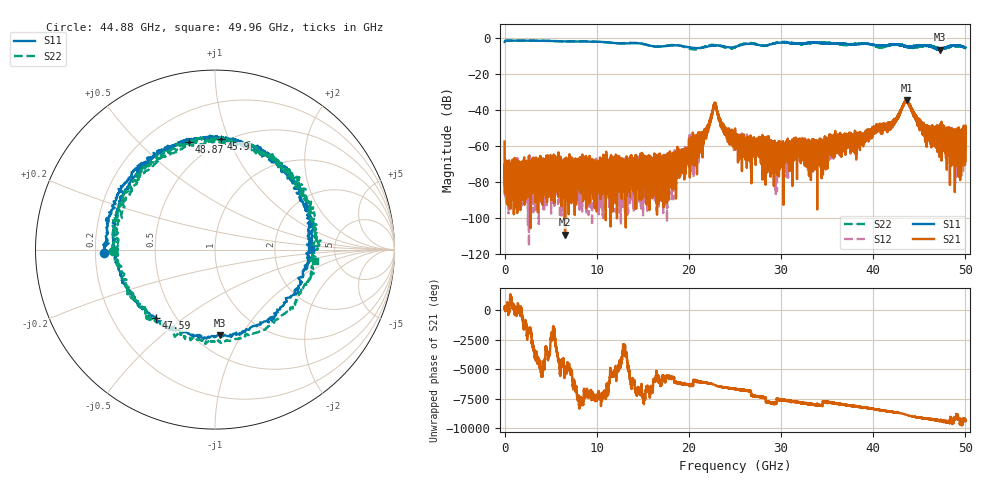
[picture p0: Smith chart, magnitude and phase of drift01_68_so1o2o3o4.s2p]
!Created with skrf (http://scikit-rf.org).
# Hz S RI R 50.0
!freq ReS11 ImS11 ReS21 ImS21 ReS12 ImS12 ReS22 ImS22
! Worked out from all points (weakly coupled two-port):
!   10001 points, 300 kHz to 50 GHz, reference 50 ohm
!   highest |S21| = -34.66 dB at 43.62 GHz (marker M1); lowest = -109.4 dB at 6.56 GHz (marker M2)
!   lowest |S11| = -6.5 dB at 47.28 GHz (marker M3), VSWR 2.81, Z = 32.9 - j40.5 ohm
!   |S11| at or under -10 dB: nowhere
!   |S22| runs from -6.4 to -1.4 dB; largest |S21 - S12| = 0.0043
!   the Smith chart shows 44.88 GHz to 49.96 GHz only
!   S11 on the Smith chart (normalised r, x): 44.88 GHz: 0.24, -0.02; 45.9 GHz: 0.47, +0.94; 47.59 GHz: 0.39, -0.40; 48.87 GHz: 0.37, +0.72; 49.96 GHz: 3.29, +0.03
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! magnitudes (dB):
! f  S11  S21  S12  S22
! 300 kHz  -2.1  -57.7  -62.6  -2.1
! 280.3 MHz  -1.4  -76.8  -76.7  -1.4
! 6.56 GHz  -1.9  -109.4  -75.4  -1.9
! 8.335 GHz  -1.9  -74.4  -79.7  -1.8
! 16.67 GHz  -4.8  -80.6  -76.3  -4.8
! 18.38 GHz  -4.0  -70.3  -68.4  -3.8
! 21.1 GHz  -5.6  -54.5  -54.8  -5.9
! 22.79 GHz  -4.2  -36.3  -36.2  -4.0
! 23.75 GHz  -4.6  -49.9  -49.7  -5.0
! 25 GHz  -5.0  -55.1  -62.3  -5.0
! 29.51 GHz  -2.8  -75.1  -62.6  -2.6
! 31.53 GHz  -3.1  -62.0  -60.4  -3.1
! 33.34 GHz  -2.6  -58.3  -65.4  -2.7
! 41.67 GHz  -3.9  -49.1  -49.6  -4.2
! 43.62 GHz  -4.7  -34.7  -35.0  -4.8
! 44.88 GHz  -4.2  -44.6  -46.7  -4.9
! 45.9 GHz  -4.2  -53.1  -51.0  -4.3
! 47.28 GHz  -6.5  -53.7  -52.5  -5.8
! 47.59 GHz  -6.0  -50.8  -52.6  -5.9
! 48.87 GHz  -4.2  -57.0  -60.1  -4.5
! 49.96 GHz  -5.5  -59.1  -58.5  -5.1
! 50 GHz  -5.4  -56.9  -52.4  -5.3
